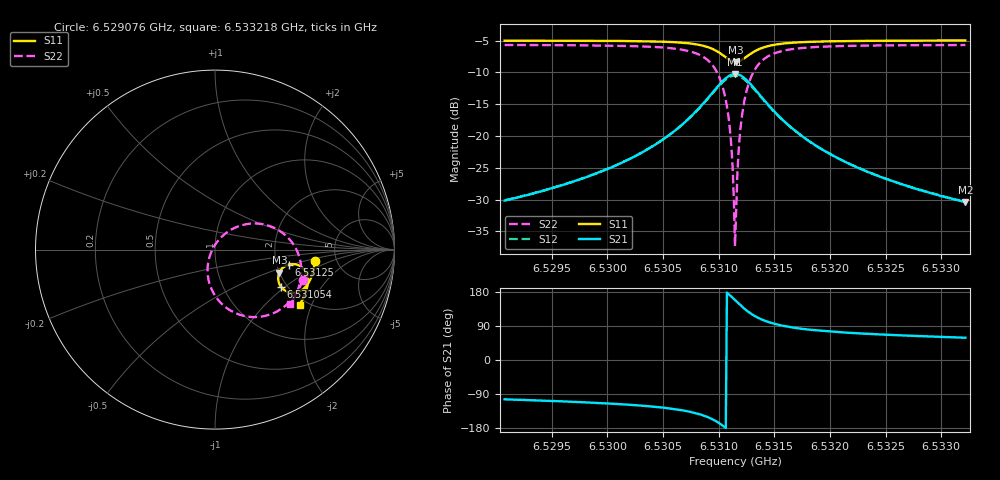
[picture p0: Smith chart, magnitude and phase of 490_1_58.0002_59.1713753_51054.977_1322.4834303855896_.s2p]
#  HZ  S  RI  R  50.00
! Rohde & Schwarz Vector Network Analyzer
! Rohde-Schwarz,ZNB20-2Port,1311601062101988,3.16
! Created: UTC 3/21/2024, 1:12:14 AM
! freq[Hz]  re:S11  im:S11  re:S21  im:S21  re:S12  im:S12  re:S22  im:S22
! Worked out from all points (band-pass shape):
!   401 points, 6.529076 GHz to 6.533218 GHz, reference 50 ohm
!   highest |S21| = -10.26 dB at 6.531147 GHz (marker M1); lowest = -30.4 dB at 6.533218 GHz (marker M2)
!   |S21| within 3 dB of the highest: 6.530941 GHz to 6.531355 GHz (413.6 kHz wide, 0.00633 % of centre)
!   lowest |S11| = -8.4 dB at 6.531157 GHz (marker M3), VSWR 2.23, Z = 99.9 - j30.1 ohm
!   |S11| at or under -10 dB: nowhere
!   |S22| runs from -37.3 to -5.7 dB; largest |S21 - S12| = 0.012
!   S11 on the Smith chart (normalised r, x): 6.529076 GHz: 3.42, -0.65; 6.531054 GHz: 1.86, -0.93; 6.53125 GHz: 2.33, -0.47; 6.533218 GHz: 1.82, -1.64
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6.5290761e9  0.5571 -0.0651  -0.00745 -0.0301  -0.00801 -0.0301  0.4902 -0.169
6.5297698e9  0.5464 -0.1228  -0.0168 -0.0429  -0.0178 -0.0427  0.4595 -0.2332
6.5304635e9  0.5175 -0.1912  -0.0506 -0.0735  -0.0526 -0.0722  0.378 -0.324
6.5307016e9  0.4902 -0.2208  -0.0903 -0.0927  -0.0931 -0.0896  0.2974 -0.3645
6.5308776e9  0.4463 -0.2396  -0.1582 -0.099  -0.1604 -0.0924  0.1715 -0.3715
6.5309812e9  0.4017 -0.2341  -0.2275 -0.0725  -0.2267 -0.0629  0.0537 -0.3167
6.5310536e9  0.3672 -0.2065  -0.2787 -0.0138  -0.2728 -0.00418  -0.0236 -0.2099
6.531095e9  0.3545 -0.1784  -0.2944 0.0391  -0.2856 0.0469  -0.0415 -0.1193
6.5311158e9  0.3523 -0.1621  -0.2949 0.0691  -0.2849 0.0753  -0.0375 -0.0698
6.5311261e9  0.3525 -0.1536  -0.293 0.0843  -0.2825 0.0896  -0.032 -0.0449
6.5311365e9  0.3537 -0.145  -0.2897 0.0995  -0.2789 0.1038  -0.0238 -0.0205
6.5311468e9  0.3558 -0.1368  -0.2846 0.1143  -0.2738 0.1179  -0.0132 0.00313
6.5311572e9  0.3586 -0.1286  -0.2783 0.1286  -0.2674 0.1312  -0.000376 0.0256
6.5311675e9  0.3625 -0.121  -0.2705 0.1422  -0.2597 0.1438  0.0145 0.0466
6.5311882e9  0.3722 -0.1072  -0.2511 0.1663  -0.2412 0.166  0.0497 0.0831
6.5311986e9  0.3781 -0.1013  -0.2404 0.1766  -0.2307 0.1756  0.0694 0.0981
6.5312504e9  0.4113 -0.0831  -0.1796 0.2087  -0.1731 0.2055  0.1745 0.1418
6.5313228e9  0.4545 -0.0835  -0.104 0.2105  -0.1007 0.2073  0.302 0.1322
6.5314264e9  0.4919 -0.1061  -0.0391 0.1789  -0.0375 0.1773  0.4079 0.0649
6.5318405e9  0.5172 -0.1865  0.0161 0.0862  0.0172 0.0859  0.4813 -0.1283
6.5325342e9  0.4977 -0.2575  0.0181 0.0412  0.0187 0.041  0.4529 -0.245
6.5332175e9  0.4708 -0.3083  0.0157 0.0259  0.0162 0.0257  0.4181 -0.3058
